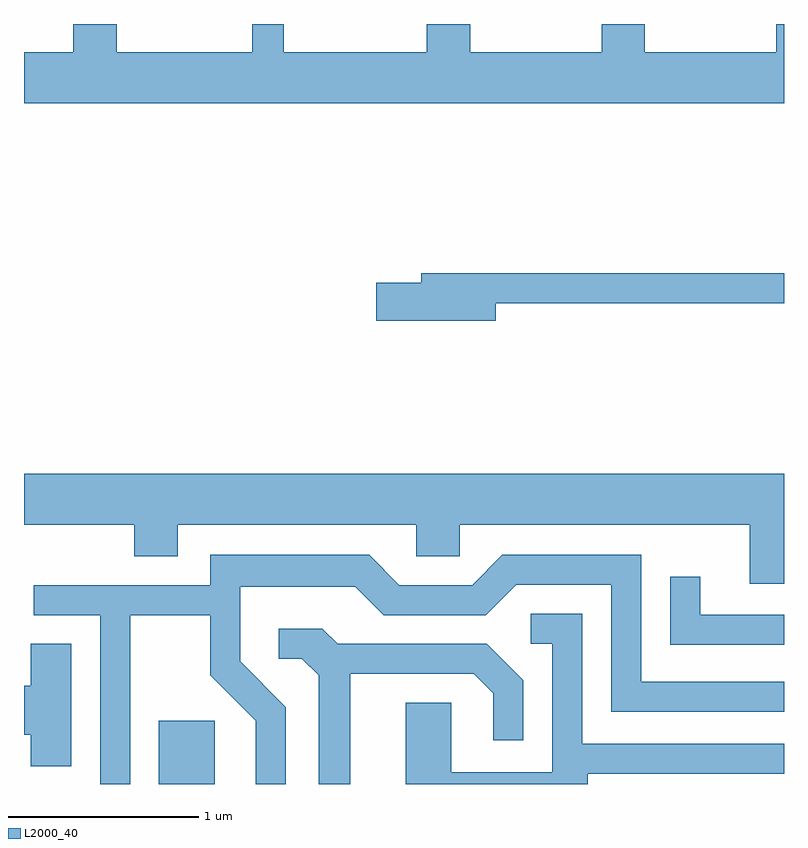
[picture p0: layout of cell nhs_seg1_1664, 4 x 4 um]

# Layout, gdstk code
import gdstk
lib = gdstk.Library(unit=1e-6, precision=1e-09)
def R(c, l, rs):  # rectangles x0, y0, x1, y1
    for r in rs: c.add(gdstk.rectangle(r[:2], r[2:], *l))
def P(c, l, *ps):  # polygons
    for p in ps: c.add(gdstk.Polygon(p, *l))
L2000_40 = (2000, 40)

nhs_seg1_1664 = lib.new_cell('nhs_seg1_1664')
R(nhs_seg1_1664, L2000_40, [(236.321,953.712,236.614,954.044)])
P(nhs_seg1_1664, L2000_40, [(239.611,957.712),(239.571,957.712),(239.571,957.564),(238.879,957.564),(238.879,957.712),(238.651,957.712),(238.651,957.564),(237.959,957.564),(237.959,957.712),(237.731,957.712),(237.731,957.564),(236.979,957.564),(236.979,957.712),(236.811,957.712),(236.811,957.564),(236.099,957.564),(236.099,957.712),(235.871,957.712),(235.871,957.564),(235.611,957.564),(235.611,957.296),(239.611,957.296)],
  [(238.094,956.241),(239.611,956.241),(239.611,956.399),(237.701,956.399),(237.701,956.349),(237.466,956.349),(237.466,956.151),(238.094,956.151)],
  [(239.611,955.344),(235.611,955.344),(235.611,955.076),(236.191,955.076),(236.191,954.911),(236.419,954.911),(236.419,955.076),(237.676,955.076),(237.676,954.911),(237.904,954.911),(237.904,955.076),(239.431,955.076),(239.431,954.766),(239.611,954.766)],
  [(236.169,954.601),(236.591,954.601),(236.591,954.284),(236.831,954.044),(236.831,953.712),(236.989,953.712),(236.989,954.117),(236.749,954.357),(236.749,954.751),(237.354,954.751),(237.504,954.601),(238.042,954.601),(238.202,954.761),(238.701,954.761),(238.701,954.091),(239.611,954.091),(239.611,954.249),(238.859,954.249),(238.859,954.919),(238.129,954.919),(237.969,954.759),(237.587,954.759),(237.427,954.919),(236.591,954.919),(236.591,954.759),(235.663,954.759),(235.663,954.601),(236.011,954.601),(236.011,953.712),(236.169,953.712)],
  [(239.611,954.604),(239.169,954.604),(239.169,954.803),(239.011,954.803),(239.011,954.446),(239.611,954.446)],
  [(238.579,953.766),(239.611,953.766),(239.611,953.924),(238.549,953.924),(238.549,954.609),(238.278,954.609),(238.278,954.451),(238.391,954.451),(238.391,953.774),(237.859,953.774),(237.859,954.139),(237.621,954.139),(237.621,953.712),(238.579,953.712)],
  [(237.329,954.291),(237.979,954.291),(238.081,954.189),(238.081,953.943),(238.239,953.943),(238.239,954.257),(238.047,954.449),(237.262,954.449),(237.182,954.529),(236.953,954.529),(236.953,954.371),(237.074,954.371),(237.161,954.284),(237.161,953.712),(237.329,953.712)],
  [(235.859,954.449),(235.646,954.449),(235.646,954.229),(235.611,954.229),(235.611,953.971),(235.646,953.971),(235.646,953.806),(235.859,953.806)])

lib.write_gds('nhs_seg1_1664.gds')
